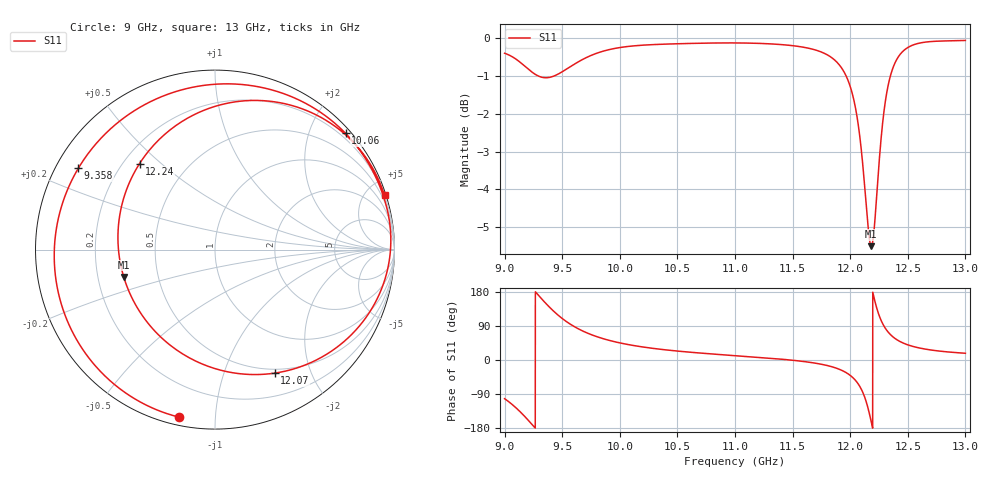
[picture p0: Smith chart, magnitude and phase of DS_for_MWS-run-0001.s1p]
! TOUCHSTONE file generated by CST DESIGN STUDIO
! Date and time: Tue Feb  4 12:51:27 2025
! Project name: C:\Work\MatlabApps\UnitCellOptimizationMatlab\CST\unitcell.cst
! Tree item: Tasks\Sweep1\SPara1\S-Parameters
! Header version: 2024
! Port assignment regex: !\s*Touchstone port\s*([0-9]+)\s*=\s*(CST MWS port|CST DES external port|CST DES block port)\s*(.+)\s* \(\"(.*)\"\)(\s*mode\s*([0-9]+))?.*
! Touchstone port assignment:
! Touchstone port 1 = CST DES external port 1 ("")
# GHz S MA R 50
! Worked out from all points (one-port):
!   4001 points, 9 GHz to 13 GHz, reference 50 ohm
!   lowest |S11| = -5.5 dB at 12.18 GHz (marker M1), VSWR 3.26, Z = 15.6 - j6.63 ohm
!   |S11| at or under -10 dB: nowhere
!   S11 on the Smith chart (normalised r, x): 9 GHz: 0.04, -0.81; 9.358 GHz: 0.06, +0.27; 10.06 GHz: 0.10, +2.62; 12.07 GHz: 0.45, -1.50; 12.24 GHz: 0.26, +0.43; 13 GHz: 0.16, +6.39
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9  0.9547 -102.1
9.104  0.9365 -127.6
9.21  0.9084 -160.6
9.282  0.8924 174.8
9.358  0.8861 149.3
9.428  0.8907 128.1
9.5  0.9024 109.5
9.599  0.9222 89.2
9.73  0.9454 69.6
10  0.9714 45.1
10.056  0.974 41.7
10.5  0.9827 23.6
11  0.9851 11.5
11.5  0.977 -0.7
11.836  0.9428 -17.4
12  0.863 -40.6
12.072  0.7642 -64.3
12.131  0.6221 -102.5
12.156  0.5608 -128.4
12.183  0.5308 -163.3
12.208  0.5591 163.0
12.236  0.6373 131.3
12.273  0.7498 101.4
12.316  0.8445 78.9
12.395  0.9312 55.6
12.5  0.9714 40.0
12.681  0.9887 27.3
13  0.9926 17.8
